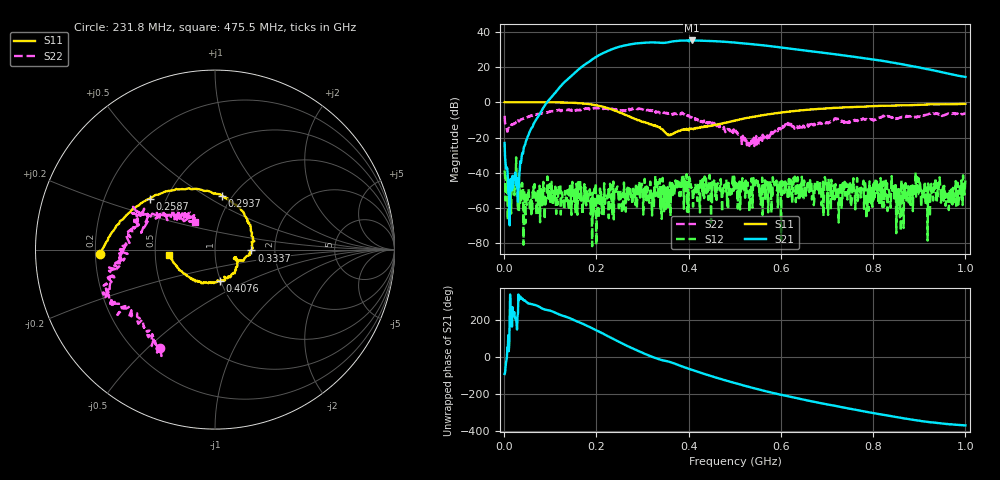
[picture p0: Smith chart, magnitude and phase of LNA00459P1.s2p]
! Created with skrf 1.9.0 (http://scikit-rf.org).
# Hz S RI R 50.0
!freq ReS11 ImS11 ReS21 ImS21 ReS12 ImS12 ReS22 ImS22
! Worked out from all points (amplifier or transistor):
!   1001 points, 1 MHz to 1 GHz, reference 50 ohm
!   highest |S21| = 35.0 dB at 406.6 MHz (marker M1)
!   |S21| within 3 dB of that: 258.6 MHz to 569 MHz (310.4 MHz wide, 75 % of centre)
!   unconditionally stable (mu >= 1): 236.9 MHz to 304.6 MHz; 304.9 MHz to 385.6 MHz; 395.7 MHz to end of sweep (the widest 3 of 41)
!   at 166.8 MHz: K = 0.50, MSG = 33.9 dB, |S12| = -48.1 dB
!   at 500.5 MHz: K = 2.51, MAG = 34.3 dB, |S12| = -48.4 dB
!   at 1 GHz: K = 1.95, MAG = 23.5 dB, |S12| = -43.9 dB
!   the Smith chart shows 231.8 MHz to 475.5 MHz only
!   S11 on the Smith chart (normalised r, x): 231.8 MHz: 0.22, -0.02; 258.7 MHz: 0.41, +0.29; 293.7 MHz: 0.89, +0.59; 333.7 MHz: 1.51, -0.01; 407.6 MHz: 0.99, -0.36; 475.5 MHz: 0.59, -0.04
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1000000  1.005 0.0152  -0.00202 -0.0702  0.00596 -0.01  0.2715 0.311
1.08892e8  0.5243 -0.8434  -0.8253 -1.538  -0.000881 -0.0012  0.4091 -0.3852
1.67833e8  -0.2242 -0.9034  -9.98 -0.4943  0.00129 -0.00103  0.018 -0.634
2.05795e8  -0.6418 -0.4641  -15.87 14.65  -0.0012 -0.0018  -0.1956 -0.6534
2.31769e8  -0.6402 -0.0219  -7.38 30.15  -0.000903 0.00211  -0.3066 -0.5502
2.58742e8  -0.3636 0.2845  13.51 37.55  0.000616 0.000522  -0.4272 -0.4133
2.93707e8  0.038 0.3008  41.06 23.44  -0.00448 0.0016  -0.6205 -0.2457
3.13687e8  0.1816 0.1647  48.74 6.822  0.00128 0.00244  -0.5606 -0.155
3.33667e8  0.2024 -0.0045  48.03 -8.926  0.0018 0.00359  -0.5272 -0.0387
3.34666e8  0.1994 -0.00852  47.89 -9.651  -0.000356 0.00172  -0.5334 -0.0494
3.71629e8  0.1252 -0.0678  43.06 -33.16  -0.000881 0.00605  -0.4505 0.163
4.06594e8  0.0393 -0.1739  20.17 -52.61  -0.00275 0.00304  -0.3191 0.2093
4.07593e8  0.027 -0.1764  19.24 -52.72  0.00204 0.0026  -0.3076 0.1798
4.4056e8  -0.13 -0.1604  -6.429 -54.6  0.0027 0.00175  -0.1944 0.1873
4.75525e8  -0.2553 -0.0301  -28.51 -43.54  0.00289 0.00197  -0.1122 0.153
5.005e8  -0.2814 0.1013  -38.42 -30.76  0.000104 -0.00381  -0.1201 0.0982
5.39461e8  -0.233 0.3047  -42.86 -9.607  0.000532 -0.00427  -0.062 0.000971
5.85415e8  -0.0568 0.4784  -36.31 10.35  0.00535 -0.00342  -0.1304 -0.0666
6.67333e8  0.3303 0.5328  -13.64 23.85  0.00117 -0.00131  -0.2344 -0.0403
7.53247e8  0.6305 0.3652  3.932 19.38  -0.00154 3.43e-05  -0.294 0.0102
8.34166e8  0.7879 0.1329  10.28 9.332  0.00279 -0.00175  -0.3928 0.0243
1e9  0.8113 -0.3938  5.141 -0.9183  0.00327 0.0055  -0.331 0.344
